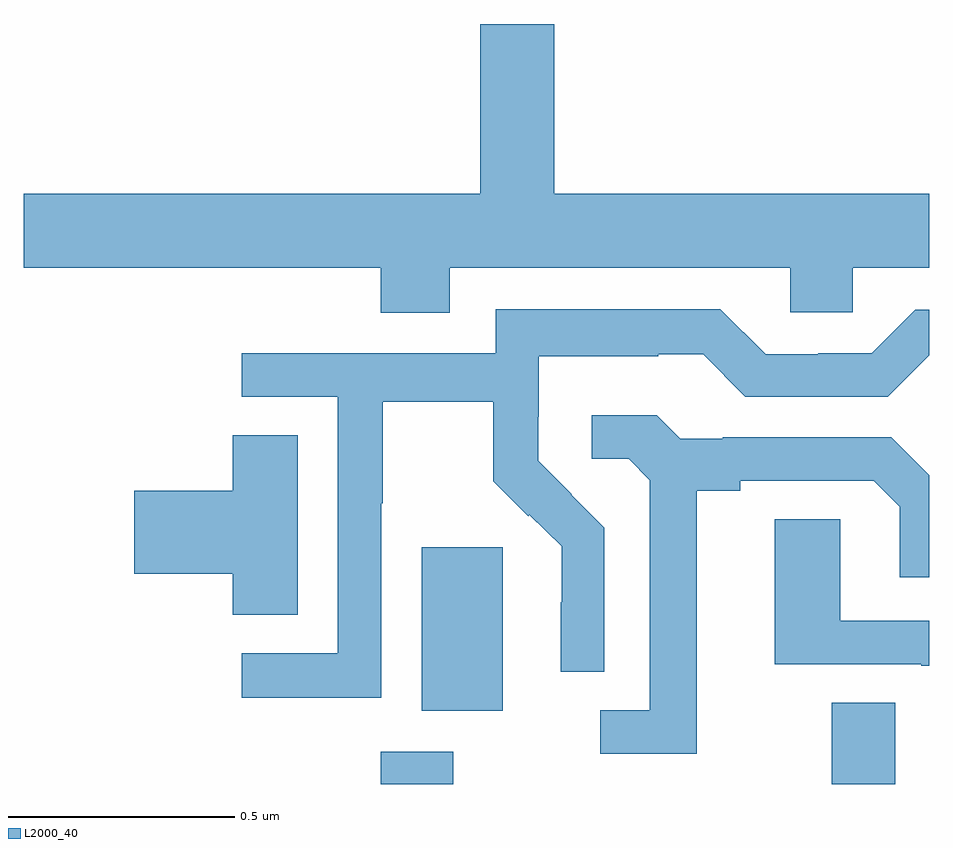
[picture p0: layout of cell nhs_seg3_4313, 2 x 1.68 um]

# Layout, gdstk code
import gdstk
lib = gdstk.Library(unit=1e-6, precision=1e-09)
def R(c, l, rs):  # rectangles x0, y0, x1, y1
    for r in rs: c.add(gdstk.rectangle(r[:2], r[2:], *l))
def P(c, l, *ps):  # polygons
    for p in ps: c.add(gdstk.Polygon(p, *l))
L2000_40 = (2000, 40)

nhs_seg3_4313 = lib.new_cell('nhs_seg3_4313')
R(nhs_seg3_4313, L2000_40, [(164.789,742.4,164.949,742.471), (165.785,742.4,165.925,742.58), (164.879,742.562,165.058,742.923)])
P(nhs_seg3_4313, L2000_40, [(164.941,743.54),(165.693,743.54),(165.693,743.442),(165.831,743.442),(165.831,743.54),(166,743.54),(166,743.704),(165.172,743.704),(165.172,744.079),(165.008,744.079),(165.008,743.704),(164,743.704),(164,743.54),(164.789,743.54),(164.789,743.441),(164.941,743.441)],
  [(164.79,743.02),(164.793,743.02),(164.793,743.244),(165.037,743.244),(165.037,743.069),(165.114,742.992),(165.117,742.995),(165.188,742.925),(165.188,742.802),(165.186,742.802),(165.186,742.648),(165.282,742.648),(165.282,742.966),(165.209,743.039),(165.21,743.04),(165.136,743.114),(165.136,743.211),(165.138,743.211),(165.138,743.345),(165.401,743.345),(165.401,743.349),(165.501,743.349),(165.594,743.256),(165.909,743.256),(166,743.347),(166,743.448),(165.969,743.448),(165.873,743.352),(165.755,743.352),(165.755,743.349),(165.639,743.349),(165.539,743.449),(165.042,743.449),(165.042,743.352),(164.481,743.352),(164.481,743.256),(164.694,743.256),(164.694,742.689),(164.481,742.689),(164.481,742.591),(164.79,742.591)],
  [(165.487,743.048),(165.583,743.048),(165.583,743.07),(165.878,743.07),(165.935,743.013),(165.935,742.857),(166,742.857),(166,743.082),(165.916,743.166),(165.544,743.166),(165.544,743.163),(165.45,743.163),(165.398,743.215),(165.255,743.215),(165.255,743.118),(165.336,743.118),(165.383,743.071),(165.383,742.563),(165.273,742.563),(165.273,742.467),(165.487,742.467)],
  [(164.605,743.171),(164.462,743.171),(164.462,743.048),(164.244,743.048),(164.244,742.865),(164.462,742.865),(164.462,742.774),(164.605,742.774)],
  [(166,742.761),(165.804,742.761),(165.804,742.985),(165.659,742.985),(165.659,742.665),(165.983,742.665),(165.983,742.661),(166,742.661)])

lib.write_gds('nhs_seg3_4313.gds')
